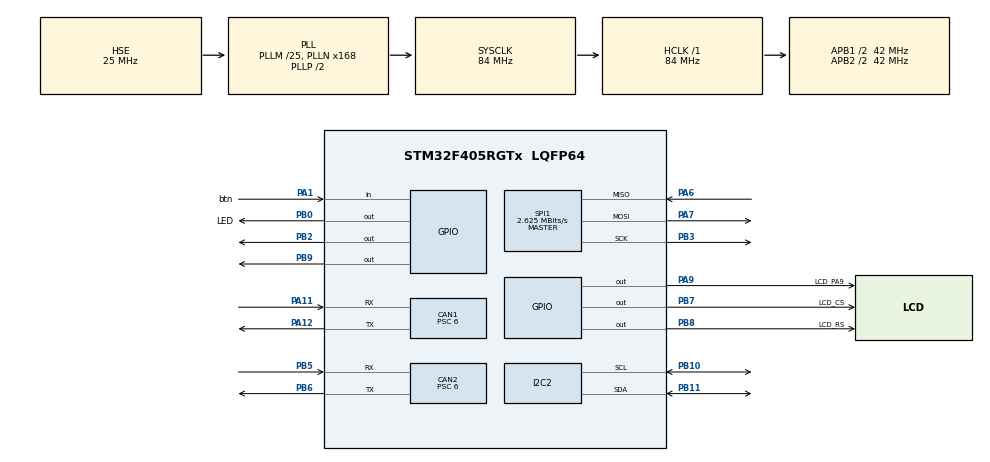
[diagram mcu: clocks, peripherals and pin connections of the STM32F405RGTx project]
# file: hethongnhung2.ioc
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ADC1.Channel-0\#ChannelRegularConversion=ADC_CHANNEL_TEMPSENSOR
ADC1.Channel-1\#ChannelRegularConversion=ADC_CHANNEL_TEMPSENSOR
ADC1.ContinuousConvMode=ENABLE
ADC1.DMAContinuousRequests=ENABLE
ADC1.NbrOfConversion=2
ADC1.NbrOfConversionFlag=1
ADC1.Rank-0\#ChannelRegularConversion=1
ADC1.Rank-1\#ChannelRegularConversion=2
ADC1.SamplingTime-0\#ChannelRegularConversion=ADC_SAMPLETIME_144CYCLES
ADC1.SamplingTime-1\#ChannelRegularConversion=ADC_SAMPLETIME_144CYCLES
ADC1.ScanConvMode=ENABLE
ADC1.master=1
CAN1.BS1=CAN_BS1_6TQ
CAN1.BS2=CAN_BS2_3TQ
CAN1.CalculateBaudRate=700000
CAN1.CalculateTimeBit=1428
CAN1.CalculateTimeQuantum=142.85714285714286
CAN1.Prescaler=6
CAN2.BS1=CAN_BS1_6TQ
CAN2.BS2=CAN_BS2_3TQ
CAN2.CalculateBaudRate=700000
CAN2.CalculateTimeBit=1428
CAN2.CalculateTimeQuantum=142.85714285714286
CAN2.Prescaler=6
Dma.ADC1.0.Direction=DMA_PERIPH_TO_MEMORY
Dma.ADC1.0.FIFOMode=DMA_FIFOMODE_DISABLE
Dma.ADC1.0.Instance=DMA2_Stream0
Dma.ADC1.0.MemDataAlignment=DMA_MDATAALIGN_HALFWORD
Dma.ADC1.0.MemInc=DMA_MINC_ENABLE
Dma.ADC1.0.Mode=DMA_NORMAL
Dma.ADC1.0.PeriphDataAlignment=DMA_PDATAALIGN_HALFWORD
Dma.ADC1.0.PeriphInc=DMA_PINC_DISABLE
Dma.ADC1.0.Priority=DMA_PRIORITY_LOW
Dma.Request0=ADC1
FREERTOS.Tasks01=defaultTask,0,1024,StartDefaultTask,Default,NULL,Dynamic,NULL,NULL;LCD_Touch_Task,0,1024,LCD_Touch,Default,NULL,Dynamic,NULL,NULL;LED_Task,-1,256,LED,Default,NULL,Dynamic,NULL,NULL;CAN_Task,1,526,CAN,Default,NULL,Dynamic,NULL,NULL;Button_FRAM_Tas,-1,128,Button_FRAM,Default,NULL,Dynamic,NULL,NULL;Display_CAN_Dat,-2,128,Display_CAN,Default,NULL,Dynamic,NULL,NULL
I2C2.I2C_Mode=I2C_Fast
Mcu.Family=STM32F4
Mcu.Name=STM32F405RGTx
Mcu.Package=LQFP64
NVIC.DMA2_Stream0_IRQn=true\:5\:0\:false\:false\:true\:true\:false\:true\:true
NVIC.PriorityGroup=NVIC_PRIORITYGROUP_4
NVIC.TIM1_UP_TIM10_IRQn=true\:15\:0\:false\:false\:true\:false\:false\:true\:true
NVIC.TimeBase=TIM1_UP_TIM10_IRQn
NVIC.TimeBaseIP=TIM1
PA1.GPIO_Label=btn
PA1.Signal=GPIO_Input
PA11.Mode=CAN_Activate
PA11.Signal=CAN1_RX
PA12.Mode=CAN_Activate
PA12.Signal=CAN1_TX
PA13.Mode=Serial_Wire
PA13.Signal=SYS_JTMS-SWDIO
PA14.Mode=Serial_Wire
PA14.Signal=SYS_JTCK-SWCLK
PA6.Mode=Full_Duplex_Master
PA6.Signal=SPI1_MISO
PA7.Mode=Full_Duplex_Master
PA7.Signal=SPI1_MOSI
PA9.GPIO_Label=LCD_PA9
PA9.Signal=GPIO_Output
PB0.GPIO_Label=LED
PB0.Signal=GPIO_Output
PB10.Mode=I2C
PB10.Signal=I2C2_SCL
PB11.Mode=I2C
PB11.Signal=I2C2_SDA
PB2.Signal=GPIO_Output
PB3.Mode=Full_Duplex_Master
PB3.Signal=SPI1_SCK
PB5.Mode=CAN_Activate
PB5.Signal=CAN2_RX
PB6.Mode=CAN_Activate
PB6.Signal=CAN2_TX
PB7.GPIO_Label=LCD_CS
PB7.Signal=GPIO_Output
PB8.GPIO_Label=LCD_RS
PB8.Signal=GPIO_Output
PB9.Signal=GPIO_Output
PH0-OSC_IN.Mode=HSE-External-Oscillator
PH0-OSC_IN.Signal=RCC_OSC_IN
PH1-OSC_OUT.Mode=HSE-External-Oscillator
PH1-OSC_OUT.Signal=RCC_OSC_OUT
ProjectManager.HeapSize=0x200
ProjectManager.StackSize=0x400
ProjectManager.TargetToolchain=STM32CubeIDE
RCC.48MHZClocksFreq_Value=42000000
RCC.AHBFreq_Value=84000000
RCC.APB1CLKDivider=RCC_HCLK_DIV2
RCC.APB1Freq_Value=42000000
RCC.APB1TimFreq_Value=84000000
RCC.APB2CLKDivider=RCC_HCLK_DIV2
RCC.APB2Freq_Value=42000000
RCC.APB2TimFreq_Value=84000000
RCC.CortexFreq_Value=84000000
RCC.HCLKFreq_Value=84000000
RCC.HSE_VALUE=25000000
RCC.HSI_VALUE=16000000
RCC.LSE_VALUE=32768
RCC.PLLM=25
RCC.PLLN=168
RCC.PLLSourceVirtual=RCC_PLLSOURCE_HSE
RCC.SYSCLKFreq_VALUE=84000000
RCC.SYSCLKSource=RCC_SYSCLKSOURCE_PLLCLK
RCC.VCOOutputFreq_Value=168000000
SPI1.BaudRatePrescaler=SPI_BAUDRATEPRESCALER_16
SPI1.CalculateBaudRate=2.625 MBits/s
SPI1.Direction=SPI_DIRECTION_2LINES
SPI1.Mode=SPI_MODE_MASTER
SPI1.VirtualType=VM_MASTER
VP_ADC1_TempSens_Input.Mode=IN-TempSens
VP_ADC1_Vref_Input.Mode=IN-Vrefint
VP_FREERTOS_VS_CMSIS_V1.Mode=CMSIS_V1
VP_RTC_VS_RTC_Activate.Mode=RTC_Enabled
VP_RTC_VS_RTC_Calendar.Mode=RTC_Calendar
VP_SYS_VS_tim1.Mode=TIM1
board=custom

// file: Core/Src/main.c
/* USER CODE BEGIN Header */
/**
  ******************************************************************************
  * @file           : main.c
  * @brief          : Main program body
  ******************************************************************************
  * @attention
  *
  * Copyright (c) 2025 STMicroelectronics.
  * All rights reserved.
  *
  * This software is licensed under terms that can be found in the LICENSE file
  * in the root directory of this software component.
  * If no LICENSE file comes with this software, it is provided AS-IS.
  *
  ******************************************************************************
  */
/* USER CODE END Header */
#include "main.h"
#include "cmsis_os.h"
/* USER CODE BEGIN Includes */
#include "LCD_Driver.h"
#include "touch.h"
#include "stdio.h"
#include "FreeRTOS.h"
#include <stdio.h>
#include <string.h>
#include "fram_i2c.h"
/* USER CODE END Includes */

/* USER CODE BEGIN PTD */
#define VREFINT          1.21f
#define ADCMAX           4095
#define V25              0.76f
#define AVG_SlOPE        0.0025f
//#define FRAM_ADDR        0xA0

uint8_t temperature_data[2];
uint8_t data_sram[2] = {0};
uint8_t RxData[3];
uint16_t AdcRaw[2];
uint8_t AdcConvCmplt = 0;
double VrefInt;
double VTempSens;
double Temperature;

#define ENABLE_BIT(reg, pos) reg |= (1 << pos)
#define DISABLE_BIT(reg, pos) reg &=~ (1 << pos)

uint16_t x, y;
CAN_TxHeaderTypeDef txHeader;
CAN_RxHeaderTypeDef RxHeader;
uint8_t txdata[8];
uint32_t txMailbox;

RTC_TimeTypeDef sTime;
RTC_DateTypeDef sDate;
/* USER CODE END PTD */

/* USER CODE BEGIN PD */
#define btn_Pin GPIO_PIN_1
#define btn_GPIO_Port GPIOA
#define LOG_DATA_SIZE     8
/* USER CODE END PD */

ADC_HandleTypeDef hadc1;
DMA_HandleTypeDef hdma_adc1;

CAN_HandleTypeDef hcan1;
CAN_HandleTypeDef hcan2;

I2C_HandleTypeDef hi2c2;

RTC_HandleTypeDef hrtc;

SPI_HandleTypeDef hspi1;

osThreadId defaultTaskHandle;
osThreadId LCD_Touch_TaskHandle;
osThreadId LED_TaskHandle;
osThreadId CAN_TaskHandle;
osThreadId Button_FRAM_TasHandle;
osThreadId Display_CAN_DatHandle;
/* USER CODE BEGIN PV */
uint8_t menu_pressed = 0;
uint8_t current_screen = 0;
uint8_t need_redraw_main = 1;
static uint16_t fram_log_address = 0;
uint8_t need_redraw_menu = 1;
uint8_t led_running = 0; // Thêm biến này để theo dõi trạng thái LED (0: tắt, 1: bật)
/*
uint8_t FRAM_Write(uint16_t addr, uint8_t *data, uint16_t len) {
    uint8_t result;
    uint8_t buffer[len + 2];
    buffer[0] = (addr >> 8) & 0xFF;
    buffer[1] = addr & 0xFF;
    memcpy(&buffer[2], data, len);
    result = HAL_I2C_Master_Transmit(&hi2c2, FRAM_ADDR, buffer, len + 2, HAL_MAX_DELAY);
    HAL_Delay(5);
    return (result == HAL_OK) ? 0 : 1;
}

uint8_t FRAM_Read(uint16_t addr, uint8_t *data, uint16_t len) {
    uint8_t result;
    uint8_t buffer[2];

    buffer[0] = (addr >> 8) & 0xFF;
    buffer[1] = addr & 0xFF;

    result = HAL_I2C_Master_Transmit(&hi2c2, FRAM_ADDR, buffer, 2, HAL_MAX_DELAY);
    if (result != HAL_OK) return 1;

    result = HAL_I2C_Master_Receive(&hi2c2, FRAM_ADDR, data, len, HAL_MAX_DELAY);
    return (result == HAL_OK) ? 0 : 1;
}
*/
int8_t write_to_backup_sram(uint8_t *data, uint16_t bytes, uint16_t offset) {
  const uint16_t backup_size = 0x1000;
  uint8_t* base_addr = (uint8_t *) BKPSRAM_BASE;
  uint16_t i;

  if (bytes + offset >= backup_size) {
	  return -1;
  }

  ENABLE_BIT(RCC->AHB1ENR, RCC_AHB1ENR_BKPSRAMEN_Pos);
  ENABLE_BIT(RCC->AHB1ENR, RCC_APB1ENR_PWREN_Pos);
  // ENABLE_BIT(PWR->CR, 8);
  // ENABLE_BIT(PWR->CSR, 9);
  ENABLE_BIT(PWR->CR, PWR_CR_DBP_Pos);

  for (i = 0; i < bytes; i++) {
	  *(base_addr + offset + i) = *(data + i);
  }

  // DISABLE_BIT(PWR->CR, 8);
  DISABLE_BIT(PWR->CR, PWR_CR_DBP_Pos);
  return 0;
}

int8_t read_from_backup_sram(uint8_t *data, uint16_t bytes, uint16_t offset) {
  const uint16_t backup_size = 0x1000;
  uint8_t* base_addr = (uint8_t *) BKPSRAM_BASE;
  uint16_t i;

  if (bytes + offset >= backup_size) {
	  return -1;
  }

  ENABLE_BIT(RCC->AHB1ENR, RCC_APB1ENR_PWREN_Pos);
  // ENABLE_BIT(PWR->CR, 8);
  ENABLE_BIT(RCC->AHB1ENR, RCC_AHB1ENR_BKPSRAMEN_Pos);
  ENABLE_BIT(PWR->CR, PWR_CR_DBP_Pos);

  for (i = 0; i < bytes; i++) {
	  *(data + i) = *(base_addr + offset + i);
  }
  // DISABLE_BIT(PWR->CR, 8);
  DISABLE_BIT(PWR->CR, PWR_CR_DBP_Pos);
  return 0;
}
void HAL_CAN_RxFifo0MsgPendingCallback(CAN_HandleTypeDef *hcan) {
        HAL_CAN_GetRxMessage(hcan, CAN_RX_FIFO0, &RxHeader, RxData);
}

void HAL_ADC_ConvCpltCallback(ADC_HandleTypeDef* hadc)
{
	if(hadc->Instance == ADC1){
		AdcConvCmplt = 255;

	}
}

void UpdateTemperature(void) {
    if (AdcConvCmplt) {
        char debug_str[50];

        VrefInt = (VREFINT * ADCMAX) / AdcRaw[0];
        VTempSens = (VrefInt * AdcRaw[1]) / ADCMAX;
        Temperature = (VTempSens - V25) / AVG_SlOPE + 25.0;

//      sprintf(debug_str, "T=%.2f do C", Temperature);
//      lcd_display_string(10, 180, (uint8_t*)debug_str, FONT_1206, BLACK);

        temperature_data[0] = (uint8_t)Temperature;
        temperature_data[1] = (uint8_t)((Temperature - temperature_data[0]) * 100);
        write_to_backup_sram(temperature_data, sizeof(temperature_data), 0);
        read_from_backup_sram(data_sram, sizeof(temperature_data), 0);

        AdcConvCmplt = 0;
        HAL_ADC_Start_DMA(&hadc1, (uint32_t*)AdcRaw, 2);
    }
}
/* USER CODE END PV */

void SystemClock_Config(void);
static void MX_GPIO_Init(void);
static void MX_DMA_Init(void);
static void MX_SPI1_Init(void);
static void MX_ADC1_Init(void);
static void MX_CAN1_Init(void);
static void MX_CAN2_Init(void);
static void MX_I2C2_Init(void);
static void MX_RTC_Init(void);
void StartDefaultTask(void const * argument);
void LCD_Touch(void const * argument);
void LED(void const * argument);
void CAN(void const * argument);
void Button_FRAM(void const * argument);
void Display_CAN(void const * argument);

int main(void)
{

  /* MCU Configuration--------------------------------------------------------*/

  /* Reset of all peripherals, Initializes the Flash interface and the Systick. */
  HAL_Init();

  /* Configure the system clock */
  SystemClock_Config();

  /* Initialize all configured peripherals */
  MX_GPIO_Init();
  MX_DMA_Init();
  MX_SPI1_Init();
  MX_ADC1_Init();
  MX_CAN1_Init();
  MX_CAN2_Init();
  MX_I2C2_Init();
  MX_RTC_Init();
  /* USER CODE BEGIN 2 */
  HAL_CAN_Start(&hcan1);
  HAL_CAN_Start(&hcan2);
  HAL_CAN_ActivateNotification(&hcan2, CAN_IT_RX_FIFO0_MSG_PENDING);
  ADC->CCR |= ADC_CCR_TSVREFE;
  HAL_ADC_Start_DMA(&hadc1, (uint32_t*)AdcRaw, 2);

  txHeader.StdId = 0x123;
  txHeader.ExtId = 0;
  txHeader.IDE = CAN_ID_STD;
  txHeader.RTR = CAN_RTR_DATA;
  txHeader.DLC = 3;
  txHeader.TransmitGlobalTime = DISABLE;
  lcd_init();
  tp_init();
  tp_adjust();
  tp_dialog();
  if (FRAM_Init(&hi2c2) == HAL_OK) {
    lcd_display_string(10, 260, (uint8_t*)"FRAM OK", FONT_1206, GREEN);
  } else {
    lcd_display_string(10, 260, (uint8_t*)"FRAM Fail!", FONT_1206, RED);
  }
  osDelay(1000); // Để xem thông bá
  /* USER CODE END 2 */

  /* Create the thread(s) */
  osThreadDef(defaultTask, StartDefaultTask, osPriorityNormal, 0, 1024);
  defaultTaskHandle = osThreadCreate(osThread(defaultTask), NULL);

  osThreadDef(LCD_Touch_Task, LCD_Touch, osPriorityNormal, 0, 1024);
  LCD_Touch_TaskHandle = osThreadCreate(osThread(LCD_Touch_Task), NULL);

  osThreadDef(LED_Task, LED, osPriorityBelowNormal, 0, 128);
  LED_TaskHandle = osThreadCreate(osThread(LED_Task), NULL);

  osThreadDef(CAN_Task, CAN, osPriorityAboveNormal, 0, 526);
  CAN_TaskHandle = osThreadCreate(osThread(CAN_Task), NULL);

  osThreadDef(Button_FRAM_Tas, Button_FRAM, osPriorityBelowNormal, 0, 128);
  Button_FRAM_TasHandle = osThreadCreate(osThread(Button_FRAM_Tas), NULL);

  osThreadDef(Display_CAN_Dat, Display_CAN, osPriorityLow, 0, 128);
  Display_CAN_DatHandle = osThreadCreate(osThread(Display_CAN_Dat), NULL);

  /* USER CODE BEGIN RTOS_THREADS */
  /* add threads, ... */

  osThreadSuspend(LED_TaskHandle);
  osThreadSuspend(CAN_TaskHandle);
  osThreadSuspend(Button_FRAM_TasHandle);
  osThreadSuspend(Display_CAN_DatHandle);

  /* USER CODE END RTOS_THREADS */

  /* Start scheduler */
  osKernelStart();

  /* We should never get here as control is now taken by the scheduler */

  /* Infinite loop */
  while (1)
  {

  }
}

void SystemClock_Config(void)
{
  RCC_OscInitTypeDef RCC_OscInitStruct = {0};
  RCC_ClkInitTypeDef RCC_ClkInitStruct = {0};

  /** Configure the main internal regulator output voltage
  */
  __HAL_RCC_PWR_CLK_ENABLE();
  __HAL_PWR_VOLTAGESCALING_CONFIG(PWR_REGULATOR_VOLTAGE_SCALE1);

  /** Initializes the RCC Oscillators according to the specified parameters
  * in the RCC_OscInitTypeDef structure.
  */
  RCC_OscInitStruct.OscillatorType = RCC_OSCILLATORTYPE_LSI|RCC_OSCILLATORTYPE_HSE;
  RCC_OscInitStruct.HSEState = RCC_HSE_ON;
  RCC_OscInitStruct.LSIState = RCC_LSI_ON;
  RCC_OscInitStruct.PLL.PLLState = RCC_PLL_ON;
  RCC_OscInitStruct.PLL.PLLSource = RCC_PLLSOURCE_HSE;
  RCC_OscInitStruct.PLL.PLLM = 25;
  RCC_OscInitStruct.PLL.PLLN = 168;
  RCC_OscInitStruct.PLL.PLLP = RCC_PLLP_DIV2;
  RCC_OscInitStruct.PLL.PLLQ = 4;
  if (HAL_RCC_OscConfig(&RCC_OscInitStruct) != HAL_OK)
  {
    Error_Handler();
  }

  /** Initializes the CPU, AHB and APB buses clocks
  */
  RCC_ClkInitStruct.ClockType = RCC_CLOCKTYPE_HCLK|RCC_CLOCKTYPE_SYSCLK
                              |RCC_CLOCKTYPE_PCLK1|RCC_CLOCKTYPE_PCLK2;
  RCC_ClkInitStruct.SYSCLKSource = RCC_SYSCLKSOURCE_PLLCLK;
  RCC_ClkInitStruct.AHBCLKDivider = RCC_SYSCLK_DIV1;
  RCC_ClkInitStruct.APB1CLKDivider = RCC_HCLK_DIV2;
  RCC_ClkInitStruct.APB2CLKDivider = RCC_HCLK_DIV2;

  if (HAL_RCC_ClockConfig(&RCC_ClkInitStruct, FLASH_LATENCY_2) != HAL_OK)
  {
    Error_Handler();
  }
}

static void MX_ADC1_Init(void)
{

  ADC_ChannelConfTypeDef sConfig = {0};

  /** Configure the global features of the ADC (Clock, Resolution, Data Alignment and number of conversion)
  */
  hadc1.Instance = ADC1;
  hadc1.Init.ClockPrescaler = ADC_CLOCK_SYNC_PCLK_DIV2;
  hadc1.Init.Resolution = ADC_RESOLUTION_12B;
  hadc1.Init.ScanConvMode = ENABLE;
  hadc1.Init.ContinuousConvMode = ENABLE;
  hadc1.Init.DiscontinuousConvMode = DISABLE;
  hadc1.Init.ExternalTrigConvEdge = ADC_EXTERNALTRIGCONVEDGE_NONE;
  hadc1.Init.ExternalTrigConv = ADC_SOFTWARE_START;
  hadc1.Init.DataAlign = ADC_DATAALIGN_RIGHT;
  hadc1.Init.NbrOfConversion = 2;
  hadc1.Init.DMAContinuousRequests = ENABLE;
  hadc1.Init.EOCSelection = ADC_EOC_SINGLE_CONV;
  if (HAL_ADC_Init(&hadc1) != HAL_OK)
  {
    Error_Handler();
  }

  /** Configure for the selected ADC regular channel its corresponding rank in the sequencer and its sample time.
  */
  sConfig.Channel = ADC_CHANNEL_TEMPSENSOR;
  sConfig.Rank = 2;
  sConfig.SamplingTime = ADC_SAMPLETIME_144CYCLES;
  if (HAL_ADC_ConfigChannel(&hadc1, &sConfig) != HAL_OK)
  {
    Error_Handler();
  }

  /** Configure for the selected ADC regular channel its corresponding rank in the sequencer and its sample time.
  */
  sConfig.Channel = ADC_CHANNEL_TEMPSENSOR;
  sConfig.Rank = 2;
  sConfig.SamplingTime = ADC_SAMPLETIME_144CYCLES;
  if (HAL_ADC_ConfigChannel(&hadc1, &sConfig) != HAL_OK)
  {
    Error_Handler();
  }

  /* USER CODE BEGIN ADC1_Init 2 */
  sConfig.Channel = ADC_CHANNEL_VREFINT;
  sConfig.Rank = 1;
  sConfig.SamplingTime = ADC_SAMPLETIME_144CYCLES;
  if (HAL_ADC_ConfigChannel(&hadc1, &sConfig) != HAL_OK)
  {
      Error_Handler();
  }
  /* USER CODE END ADC1_Init 2 */

}

static void MX_CAN1_Init(void)
{

  hcan1.Instance = CAN1;
  hcan1.Init.Prescaler = 6;
  hcan1.Init.Mode = CAN_MODE_NORMAL;
  hcan1.Init.SyncJumpWidth = CAN_SJW_1TQ;
  hcan1.Init.TimeSeg1 = CAN_BS1_6TQ;
  hcan1.Init.TimeSeg2 = CAN_BS2_3TQ;
  hcan1.Init.TimeTriggeredMode = DISABLE;
  hcan1.Init.AutoBusOff = DISABLE;
  hcan1.Init.AutoWakeUp = DISABLE;
  hcan1.Init.AutoRetransmission = DISABLE;
  hcan1.Init.ReceiveFifoLocked = DISABLE;
  hcan1.Init.TransmitFifoPriority = DISABLE;
  if (HAL_CAN_Init(&hcan1) != HAL_OK)
  {
    Error_Handler();
  }
  /* USER CODE BEGIN CAN1_Init 2 */
  // Cấu hình bộ lọc CAN1

   CAN_FilterTypeDef filter;
   filter.FilterIdHigh = 0x0000;
   filter.FilterIdLow = 0x0000;
   filter.FilterMaskIdHigh = 0x0000;
   filter.FilterMaskIdLow = 0x0000;  // Nhận tất cả messages
   filter.FilterFIFOAssignment = CAN_FILTER_FIFO0;
   filter.FilterBank = 0;
   filter.FilterMode = CAN_FILTERMODE_IDMASK;
   filter.FilterScale = CAN_FILTERSCALE_32BIT;
   filter.FilterActivation = CAN_FILTER_ENABLE;
   filter.SlaveStartFilterBank = 14; // Số bank bắt đầu cho CAN2

   if (HAL_CAN_ConfigFilter(&hcan1, &filter) != HAL_OK)
   {
     Error_Handler();
   }

  /* USER CODE END CAN1_Init 2 */

}

static void MX_CAN2_Init(void)
{

  hcan2.Instance = CAN2;
  hcan2.Init.Prescaler = 6;
  hcan2.Init.Mode = CAN_MODE_NORMAL;
  hcan2.Init.SyncJumpWidth = CAN_SJW_1TQ;
  hcan2.Init.TimeSeg1 = CAN_BS1_6TQ;
  hcan2.Init.TimeSeg2 = CAN_BS2_3TQ;
  hcan2.Init.TimeTriggeredMode = DISABLE;
  hcan2.Init.AutoBusOff = DISABLE;
  hcan2.Init.AutoWakeUp = DISABLE;
  hcan2.Init.AutoRetransmission = ENABLE;
  hcan2.Init.ReceiveFifoLocked = DISABLE;
  hcan2.Init.TransmitFifoPriority = DISABLE;
  if (HAL_CAN_Init(&hcan2) != HAL_OK)
  {
    Error_Handler();
  }
  /* USER CODE BEGIN CAN2_Init 2 */

  CAN_FilterTypeDef filter2;
  filter2.FilterIdHigh =0x123 << 5;
  filter2.FilterIdLow = 0;
  filter2.FilterMaskIdHigh = 0x7FF << 5;
  filter2.FilterMaskIdLow = 0;
  filter2.FilterFIFOAssignment = CAN_FILTER_FIFO0;
  filter2.FilterBank = 14;
  filter2.FilterMode = CAN_FILTERMODE_IDMASK;
  filter2.FilterScale = CAN_FILTERSCALE_32BIT;
  filter2.FilterActivation = CAN_FILTER_ENABLE;

  if (HAL_CAN_ConfigFilter(&hcan2, &filter2) != HAL_OK)
  {
    Error_Handler();
  }

  /* USER CODE END CAN2_Init 2 */

}

static void MX_I2C2_Init(void)
{

  hi2c2.Instance = I2C2;
  hi2c2.Init.ClockSpeed = 400000;
  hi2c2.Init.DutyCycle = I2C_DUTYCYCLE_2;
  hi2c2.Init.OwnAddress1 = 0;
  hi2c2.Init.AddressingMode = I2C_ADDRESSINGMODE_7BIT;
  hi2c2.Init.DualAddressMode = I2C_DUALADDRESS_DISABLE;
  hi2c2.Init.OwnAddress2 = 0;
  hi2c2.Init.GeneralCallMode = I2C_GENERALCALL_DISABLE;
  hi2c2.Init.NoStretchMode = I2C_NOSTRETCH_DISABLE;
  if (HAL_I2C_Init(&hi2c2) != HAL_OK)
  {
    Error_Handler();
  }

}

static void MX_RTC_Init(void)
{

  RTC_TimeTypeDef sTime = {0};
  RTC_DateTypeDef sDate = {0};

  /** Initialize RTC Only
  */
  hrtc.Instance = RTC;
  hrtc.Init.HourFormat = RTC_HOURFORMAT_24;
  hrtc.Init.AsynchPrediv = 127;
  hrtc.Init.SynchPrediv = 255;
  hrtc.Init.OutPut = RTC_OUTPUT_DISABLE;
  hrtc.Init.OutPutPolarity = RTC_OUTPUT_POLARITY_HIGH;
  hrtc.Init.OutPutType = RTC_OUTPUT_TYPE_OPENDRAIN;
  if (HAL_RTC_Init(&hrtc) != HAL_OK)
  {
    Error_Handler();
  }

  /** Initialize RTC and set the Time and Date
  */
  sTime.Hours = 0x0;
  sTime.Minutes = 0x0;
  sTime.Seconds = 0x0;
  sTime.DayLightSaving = RTC_DAYLIGHTSAVING_NONE;
  sTime.StoreOperation = RTC_STOREOPERATION_RESET;
  if (HAL_RTC_SetTime(&hrtc, &sTime, RTC_FORMAT_BCD) != HAL_OK)
  {
    Error_Handler();
  }
  sDate.WeekDay = RTC_WEEKDAY_MONDAY;
  sDate.Month = RTC_MONTH_JANUARY;
  sDate.Date = 0x1;
  sDate.Year = 0x0;

  if (HAL_RTC_SetDate(&hrtc, &sDate, RTC_FORMAT_BCD) != HAL_OK)
  {
    Error_Handler();
  }

}

static void MX_SPI1_Init(void)
{

  /* SPI1 parameter configuration*/
  hspi1.Instance = SPI1;
  hspi1.Init.Mode = SPI_MODE_MASTER;
  hspi1.Init.Direction = SPI_DIRECTION_2LINES;
  hspi1.Init.DataSize = SPI_DATASIZE_8BIT;
  hspi1.Init.CLKPolarity = SPI_POLARITY_LOW;
  hspi1.Init.CLKPhase = SPI_PHASE_1EDGE;
  hspi1.Init.NSS = SPI_NSS_SOFT;
  hspi1.Init.BaudRatePrescaler = SPI_BAUDRATEPRESCALER_8;
  hspi1.Init.FirstBit = SPI_FIRSTBIT_MSB;
  hspi1.Init.TIMode = SPI_TIMODE_DISABLE;
  hspi1.Init.CRCCalculation = SPI_CRCCALCULATION_DISABLE;
  hspi1.Init.CRCPolynomial = 10;
  if (HAL_SPI_Init(&hspi1) != HAL_OK)
  {
    Error_Handler();
  }

}

static void MX_DMA_Init(void)
{

  /* DMA controller clock enable */
  __HAL_RCC_DMA2_CLK_ENABLE();

  /* DMA interrupt init */
  /* DMA2_Stream0_IRQn interrupt configuration */
  HAL_NVIC_SetPriority(DMA2_Stream0_IRQn, 5, 0);
  HAL_NVIC_EnableIRQ(DMA2_Stream0_IRQn);

}

static void MX_GPIO_Init(void)
{
  GPIO_InitTypeDef GPIO_InitStruct = {0};

  /* GPIO Ports Clock Enable */
  __HAL_RCC_GPIOH_CLK_ENABLE();
  __HAL_RCC_GPIOA_CLK_ENABLE();
  __HAL_RCC_GPIOB_CLK_ENABLE();

  /*Configure GPIO pin Output Level */
  HAL_GPIO_WritePin(GPIOB, LED_Pin|GPIO_PIN_2|LCD_CS_Pin|LCD_RS_Pin
                          |GPIO_PIN_9, GPIO_PIN_RESET);

  /*Configure GPIO pin Output Level */
  HAL_GPIO_WritePin(LCD_PA9_GPIO_Port, LCD_PA9_Pin, GPIO_PIN_RESET);

  /*Configure GPIO pin : btn_Pin */
  GPIO_InitStruct.Pin = btn_Pin;
  GPIO_InitStruct.Mode = GPIO_MODE_INPUT;
  GPIO_InitStruct.Pull = GPIO_NOPULL;
  HAL_GPIO_Init(btn_GPIO_Port, &GPIO_InitStruct);

  /*Configure GPIO pins : LED_Pin PB2 LCD_CS_Pin LCD_RS_Pin
                           PB9 */
  GPIO_InitStruct.Pin = LED_Pin|GPIO_PIN_2|LCD_CS_Pin|LCD_RS_Pin
                          |GPIO_PIN_9;
  GPIO_InitStruct.Mode = GPIO_MODE_OUTPUT_PP;
  GPIO_InitStruct.Pull = GPIO_NOPULL;
  GPIO_InitStruct.Speed = GPIO_SPEED_FREQ_LOW;
  HAL_GPIO_Init(GPIOB, &GPIO_InitStruct);

  /*Configure GPIO pin : LCD_PA9_Pin */
  GPIO_InitStruct.Pin = LCD_PA9_Pin;
  GPIO_InitStruct.Mode = GPIO_MODE_OUTPUT_PP;
  GPIO_InitStruct.Pull = GPIO_NOPULL;
  GPIO_InitStruct.Speed = GPIO_SPEED_FREQ_LOW;
  HAL_GPIO_Init(LCD_PA9_GPIO_Port, &GPIO_InitStruct);

}

void StartDefaultTask(void const * argument)
{
  /* USER CODE BEGIN 5 */
  /* Infinite loop */

  for(;;)
  {
    if (current_screen == 0) {
    	 if (need_redraw_main) {
    	        lcd_clear_screen(BLACK);
    	        lcd_display_string(85, 20, (uint8_t*)"[NHOM 08]", FONT_1608, WHITE);
    	        lcd_display_string(30, 60, (uint8_t*)"DANH SACH THANH VIEN:", FONT_1206, YELLOW);
    	       lcd_display_string(30, 90, (uint8_t*)"22200xxx Le Bao Gia Hoang", FONT_1206, WHITE);
    	       lcd_display_string(30, 110, (uint8_t*)"222200188 Doan Le Thanh Toan", FONT_1206, WHITE);
    	       lcd_display_string(30, 130, (uint8_t*)"21200xxx Nguyen Dao Binh Duong", FONT_1206, WHITE);
    	       lcd_display_string(30, 150, (uint8_t*)"21200xxx Le Minh Thanh", FONT_1206, WHITE);
    	        lcd_display_string(30, 170, (uint8_t*)"22200xxx Tran Nguyen Nhat", FONT_1206, WHITE);
    	        lcd_draw_rect(60, 190, 120, 40, N);
    	      lcd_draw_rect(62, 192, 116, 36, N);

    	       // lcd_fill_rect(60, 190, 120, 40, BLUE);
    	        lcd_display_string(105, 205, (uint8_t*)"MENU >>", FONT_1608, WHITE);
    	        need_redraw_main = 0;
    	      }

      while(current_screen == 0) {
        uint16_t x, y;
        if (tp_get_touch_point(&x, &y)) {
          char str[30];
          //sprintf(str, "X:%d Y:%d   ", x, y);
          lcd_display_string(10, 170, (uint8_t*)str, FONT_1206, RED);

          if (x >= 40 && x <= 200 && y >= 180 && y <= 240) {
           // lcd_display_string(50, 230, (uint8_t*)"MENU PRESSED!", FONT_1206, RED);
            osDelay(500);

            extern uint8_t need_redraw_menu;
            need_redraw_menu = 1;

            current_screen = 1;
            need_redraw_main = 1;
          }
        }
        osDelay(50);
      }
    }
    osDelay(100);
  }
  /* USER CODE END 5 */
}

void LCD_Touch(void const * argument)
{
  /* USER CODE BEGIN LCD_Touch */
	/* Infinite loop */
//	static uint8_t need_redraw_menu = 1;
	 for(;;)
	  {
	    if (current_screen == 1) {
	    	 if (need_redraw_menu) {
	    		lcd_clear_screen(N);

				lcd_draw_rect(10, 10, 130, 20, WHITE);
				lcd_draw_rect(11, 11, 128, 18, WHITE);
				//lcd_fill_rect(10, 10, 130, 20, WHITE);
				lcd_display_string(20, 12, (uint8_t*)"Nhom:[Nhom 08]", FONT_1608, WHITE);

			    lcd_draw_rect(20, 50, 90, 70, WHITE);
			    lcd_draw_rect(21, 51, 88, 68, WHITE);

			    //lcd_fill_rect(20, 50, 90, 70, WHITE);
			    lcd_display_string(30, 75, (uint8_t*)"Task 02-1", FONT_1608, WHITE);
			    lcd_display_string(30, 95, (uint8_t*)"LED OFF", FONT_1206, RED);

			    lcd_draw_rect(130, 50, 90, 70, WHITE);
			    lcd_draw_rect(131, 51, 88, 68, WHITE);
			    //lcd_fill_rect(130, 50, 90, 70, WHITE);
			    lcd_display_string(140, 75, (uint8_t*)"Task 02-2", FONT_1608, WHITE);

			    lcd_draw_rect(20, 140, 90, 70, WHITE);
			    lcd_draw_rect(21, 141, 88, 68, WHITE);
			   // lcd_fill_rect(20, 140, 90, 70, WHITE);
			    lcd_display_string(30, 165, (uint8_t*)"Task 02-3", FONT_1608, WHITE);

			    lcd_draw_rect(130, 140, 90, 70, WHITE);
			    lcd_draw_rect(131, 141, 88, 68, WHITE);
			    //lcd_fill_rect(130, 140, 90, 70, WHITE);
			    lcd_display_string(135, 165, (uint8_t*)"Task 02-4", FONT_1608, WHITE);

			    lcd_draw_rect(180, 220, 50, 20, WHITE);
			    lcd_draw_rect(181, 221, 48, 18, WHITE);
			   // lcd_fill_rect(180, 220, 50, 20, WHITE);
			    lcd_display_string(184, 224, (uint8_t*)"<<BACK", FONT_1206, WHITE);

		        need_redraw_menu = 0;
		      }

	      while(current_screen == 1) {
	        uint16_t x, y;
	        if (tp_get_touch_point(&x, &y)) {
	          //char str[30];
	         // sprintf(str, "X:%d Y:%d  ", x, y);
	        //  lcd_display_string(10, 240, (uint8_t*)str, FONT_1206, RED);

	        /*  if (x >= 180 && x <= 230 && y >= 220 && y <= 240) {
	             // lcd_display_string(100, 220, (uint8_t*)"SWITCHING...", FONT_1206, RED);
	              current_screen = 0;
	              need_redraw_menu = 1;
	          }*/
	          if (x >= 180 && x <= 230 && y >= 220 && y <= 240) {
	              // Hiển thị thông báo (tùy chọn)
	             // lcd_display_string(100, 220, (uint8_t*)"SWITCHING...", FONT_1206, RED);

	              // Suspend tất cả các task
	              osThreadSuspend(LED_TaskHandle);
	              osThreadSuspend(CAN_TaskHandle);
	              osThreadSuspend(Button_FRAM_TasHandle);
	              osThreadSuspend(Display_CAN_DatHandle);

	              // Reset biến led_running về 0
	              led_running = 0;

	              // Tắt LED (đảm bảo LED không còn sáng)
	              HAL_GPIO_WritePin(LED_GPIO_Port, LED_Pin, GPIO_PIN_RESET);

	              // Xóa các thông tin hiển thị trên màn hình
	              //lcd_fill_rect(0, 200, 240, 100, BLACK); // Xóa vùng thông tin nhiệt độ, CAN, v.v.

	              // Chuyển về màn hình chính
	              current_screen = 0;
	              need_redraw_menu = 1;

	              // Đặt biến redraw để vẽ lại màn hình chính hoàn toàn
	              need_redraw_main = 1;

	              osDelay(100); // Delay ngắn để đảm bảo các thay đổi được áp dụng
	          }

	          else if (x >= 20 && x <= 110 && y >= 50 && y <= 120) {
	              if (led_running) {
	                  // Nếu LED đang bật, tắt đi
	            	  lcd_display_string(30, 95, (uint8_t*)"LED ON", FONT_1206, N);
	                  lcd_display_string(30, 95, (uint8_t*)"LED OFF", FONT_1206, RED);
	                  //osDelay(200);
	                  led_running = 0;
	                  osThreadSuspend(LED_TaskHandle);

	                  // Tắt LED (đặt về trạng thái tắt)
	                  HAL_GPIO_WritePin(LED_GPIO_Port, LED_Pin, GPIO_PIN_RESET);

	                  // Vẽ lại nút
	                //  lcd_fill_rect(20, 50, 90, 70, WHITE);
	                //  lcd_display_string(30, 75, (uint8_t*)"Task 02-1", FONT_1206, BLACK);
	              } else {
	                  // Nếu LED đang tắt, bật lên
	            	  lcd_display_string(30, 95, (uint8_t*)"LED OFF", FONT_1206, N);
	                  lcd_display_string(30, 95, (uint8_t*)"LED ON", FONT_1206, GREEN);
	                 // osDelay(200);
	                  led_running = 1;

	                  // Tắt các task khác
	                  osThreadSuspend(CAN_TaskHandle);
	                  osThreadSuspend(Button_FRAM_TasHandle);
	                  osThreadSuspend(Display_CAN_DatHandle);

	                  // Bật LED task
	                  osThreadResume(LED_TaskHandle);

	                  // Vẽ lại nút với đánh dấu đang bật
	                  //lcd_fill_rect(20, 50, 90, 70, CYAN);
	                  //lcd_display_string(30, 75, (uint8_t*)"Task 02-1", FONT_1206, BLACK);
	              }
	          }
		        else if (x >= 130 && x <= 220 && y >= 50 && y <= 120) {
		          osThreadResume(CAN_TaskHandle);
		          osThreadSuspend(LED_TaskHandle);
		          osThreadSuspend(Button_FRAM_TasHandle);
		          osThreadSuspend(Display_CAN_DatHandle);
		        }
		        else if (x >= 20 && x <= 110 && y >= 140 && y <= 210) {
		          osThreadResume(Button_FRAM_TasHandle);
		          osThreadSuspend(LED_TaskHandle);
		          osThreadSuspend(CAN_TaskHandle);
		          osThreadSuspend(Display_CAN_DatHandle);
		        }
		        else if (x >= 130 && x <= 220 && y >= 140 && y <= 210) {
		          osThreadResume(Display_CAN_DatHandle);
		          osThreadSuspend(LED_TaskHandle);
		          osThreadSuspend(CAN_TaskHandle);
		          osThreadSuspend(Button_FRAM_TasHandle);
		        }
	        }
	        osDelay(50);
	      }
	    }
	    osDelay(100);
	  }
  /* USER CODE END LCD_Touch */
}

void LED(void const * argument)
{
  /* USER CODE BEGIN LED */
  /* Infinite loop */
  for(;;)
  {

	  HAL_GPIO_TogglePin(LED_GPIO_Port, LED_Pin);
	  osDelay(400);
  }

  /* USER CODE END LED */
}

void CAN(void const * argument)
{
  /* USER CODE BEGIN CAN */
	  for(;;)
	  {

	    UpdateTemperature();

	    txdata[0] = 8;
	    txdata[1] = temperature_data[0];
	    txdata[2] = temperature_data[1];
	    HAL_CAN_AddTxMessage(&hcan1, &txHeader, txdata, &txMailbox);
	    HAL_CAN_RxFifo0MsgPendingCallback(&hcan2);
	    HAL_CAN_RxFifo0MsgPendingCallback(&hcan1);
	    char debug_str[50];
	    sprintf(debug_str, "[Nhom %d] + TX: %d.%d do C    ",txdata[0], txdata[1], txdata[2]);
	   // lcd_fill_rect(0, 250, 240, 40, BLACK);

	    lcd_display_string(10, 270, (uint8_t*)debug_str, FONT_1206, GREEN);
	    osDelay(500);
	    lcd_display_string(10, 270, (uint8_t*)debug_str, FONT_1206, N);//xóa chữ
	  }

}
  /* USER CODE END CAN */

void Button_FRAM(void const * argument)
{
	  uint8_t button_state;
	  uint8_t last_button_state = GPIO_PIN_SET;
	  last_button_state = HAL_GPIO_ReadPin(btn_GPIO_Port, btn_Pin);
	  uint8_t log_data[LOG_DATA_SIZE];
	  char lcd_msg[60];
	  for(;;)
	  {

	    button_state = HAL_GPIO_ReadPin(btn_GPIO_Port, btn_Pin);
	    if (last_button_state == GPIO_PIN_SET && button_state == GPIO_PIN_RESET) {
	    	//lcd_fill_rect(0, 220, 240, 40, BLUE);
	    	lcd_display_string(10, 220, (uint8_t*)"Button Pressed!", FONT_1206, WHITE);
	    	AdcConvCmplt = 0;
	    	HAL_ADC_Start_DMA(&hadc1, (uint32_t*)AdcRaw, 2);
        uint32_t timeout_adc = HAL_GetTick() + 50;
	    	while(!AdcConvCmplt && HAL_GetTick() < timeout_adc){
	    	  osDelay(1);
	      }
	    	if(AdcConvCmplt){
	    	  UpdateTemperature();
	      } else {
	    	  temperature_data[0] = 0xFF;
          temperature_data[1] = 0xFF;
	    	  lcd_display_string(10, 240, (uint8_t*)"ADC Timeout!", FONT_1206, RED);
	      }
	    	        HAL_RTC_GetTime(&hrtc, &sTime, RTC_FORMAT_BIN);
	    	        HAL_RTC_GetDate(&hrtc, &sDate, RTC_FORMAT_BIN);
	    	        log_data[0] = temperature_data[0];
	    	        log_data[1] = temperature_data[1];
	    	        log_data[2] = sTime.Hours;
	    	        log_data[3] = sTime.Minutes;
	    	        log_data[4] = sTime.Seconds;
	    	        log_data[5] = sDate.Date;
	    	        log_data[6] = sDate.Month;
	    	        log_data[7] = (uint8_t)sDate.Year;
	    	        if (FRAM_WriteBytes(&hi2c2, fram_log_address, log_data, LOG_DATA_SIZE) == HAL_OK) {
	    	            sprintf(lcd_msg, "Logged to FRAM @0x%04X", fram_log_address);
	    	            lcd_display_string(10, 240, (uint8_t*)lcd_msg, FONT_1206, GREEN);
	    	            fram_log_address += LOG_DATA_SIZE;
	    	            if (fram_log_address > (FRAM_MAX_MEMORY_ADDRESS - LOG_DATA_SIZE + 1) ) {
	    	                fram_log_address = 0;
	    	                lcd_display_string(10, 260, (uint8_t*)"FRAM Addr Wrapped!", FONT_1206, YELLOW);
	    	                osDelay(500);
	    	              //lcd_fill_rect(10, 260, 200, 15, BLUE);
	    	            }
	    	        } else {
	    	            lcd_display_string(10, 240, (uint8_t*)"FRAM Write FAILED!", FONT_1206, RED);
	    	        }
	    	        osDelay(200);
	    	        lcd_display_string(10, 260, (uint8_t*)"FRAM Addr Wrapped!", FONT_1206, N);//xóa chữ

	    	    }
	    	    last_button_state = button_state;

	    	    osDelay(100);
	    	    lcd_display_string(10, 240, (uint8_t*)lcd_msg, FONT_1206, N);//xóa chữ
	    	    lcd_display_string(10, 220, (uint8_t*)"Button Pressed!", FONT_1206, N);//xóa chữ
	    	  }
  /* USER CODE END Button_FRAM */
}

void Display_CAN(void const * argument)
{
  /* USER CODE BEGIN Display_CAN */
	for(;;) {
	    lcd_fill_rect(0, 200, 240, 40, BLACK);
	    char display_str[50];
	    sprintf(display_str, "[Nhom %d] + [Nhiet do]: %d.%d do C",RxData[0], RxData[1], RxData[2]);
	    lcd_display_string(10, 220, (uint8_t*)display_str, FONT_1206, YELLOW);
	    osDelay(1000);
	    lcd_fill_rect(0, 200, 240, 40, BLACK);
	    current_screen = 0;
	    need_redraw_main = 1;
	    osThreadSuspend(Display_CAN_DatHandle);

  /* USER CODE END Display_CAN */
}
}

void HAL_TIM_PeriodElapsedCallback(TIM_HandleTypeDef *htim)
{
  if (htim->Instance == TIM1)
  {
    HAL_IncTick();
  }
  /* USER CODE BEGIN Callback 1 */
  //day la commet cac muc duoc them vao 10h
  //sưa doi trong user code begin pv giúp task 2 đóng khi task1 mở lúc mới nạp code
  //  hcan1.Init.AutoRetransmission = ENABLE;
  //
  /* USER CODE END Callback 1 */
}

void Error_Handler(void)
{
  __disable_irq();
  while (1)
  {
  }
}
